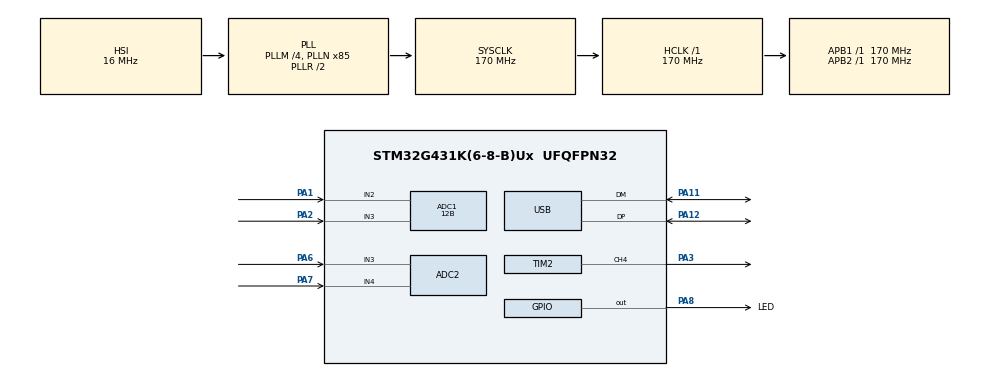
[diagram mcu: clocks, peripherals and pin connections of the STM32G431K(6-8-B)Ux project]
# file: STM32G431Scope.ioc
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ADC1.AWD1HighThreshold=4095
ADC1.AWD1ITMode=ENABLE
ADC1.Channel-4\#ChannelRegularConversion=ADC_CHANNEL_2
ADC1.Channel-6\#ChannelRegularConversion=ADC_CHANNEL_3
ADC1.DMAContinuousRequests=ENABLE
ADC1.EOCSelection=ADC_EOC_SEQ_CONV
ADC1.EnableAnalogWatchDog1=true
ADC1.ExternalTrigConv=ADC_EXTERNALTRIG_T3_TRGO
ADC1.Mode=ADC_DUALMODE_REGSIMULT
ADC1.NbrOfConversion=2
ADC1.NbrOfConversionFlag=1
ADC1.OffsetNumber-4\#ChannelRegularConversion=ADC_OFFSET_NONE
ADC1.OffsetNumber-6\#ChannelRegularConversion=ADC_OFFSET_NONE
ADC1.Overrun=ADC_OVR_DATA_OVERWRITTEN
ADC1.Rank-4\#ChannelRegularConversion=1
ADC1.Rank-6\#ChannelRegularConversion=2
ADC1.Resolution=ADC_RESOLUTION_12B
ADC1.SamplingTime-4\#ChannelRegularConversion=ADC_SAMPLETIME_2CYCLES_5
ADC1.SamplingTime-6\#ChannelRegularConversion=ADC_SAMPLETIME_2CYCLES_5
ADC1.WatchdogChannel=ADC_CHANNEL_2
ADC1.master=1
ADC2.AWD1HighThreshold=4095
ADC2.AWD1ITMode=ENABLE
ADC2.Channel-2\#ChannelRegularConversion=ADC_CHANNEL_3
ADC2.Channel-4\#ChannelRegularConversion=ADC_CHANNEL_4
ADC2.ClockPrescaler=ADC_CLOCK_SYNC_PCLK_DIV4
ADC2.DMAContinuousRequests=ENABLE
ADC2.EOCSelection=ADC_EOC_SEQ_CONV
ADC2.EnableAnalogWatchDog1=true
ADC2.Mode=ADC_DUALMODE_REGSIMULT
ADC2.NbrOfConversion=2
ADC2.NbrOfConversionFlag=1
ADC2.OffsetNumber-2\#ChannelRegularConversion=ADC_OFFSET_NONE
ADC2.OffsetNumber-4\#ChannelRegularConversion=ADC_OFFSET_NONE
ADC2.Overrun=ADC_OVR_DATA_OVERWRITTEN
ADC2.Rank-2\#ChannelRegularConversion=1
ADC2.Rank-4\#ChannelRegularConversion=2
ADC2.SamplingTime-2\#ChannelRegularConversion=ADC_SAMPLETIME_2CYCLES_5
ADC2.SamplingTime-4\#ChannelRegularConversion=ADC_SAMPLETIME_2CYCLES_5
ADC2.WatchdogChannel=ADC_CHANNEL_3
Dma.ADC1.0.Direction=DMA_PERIPH_TO_MEMORY
Dma.ADC1.0.EventEnable=DISABLE
Dma.ADC1.0.Instance=DMA1_Channel3
Dma.ADC1.0.MemDataAlignment=DMA_MDATAALIGN_HALFWORD
Dma.ADC1.0.MemInc=DMA_MINC_ENABLE
Dma.ADC1.0.Mode=DMA_CIRCULAR
Dma.ADC1.0.PeriphDataAlignment=DMA_PDATAALIGN_HALFWORD
Dma.ADC1.0.PeriphInc=DMA_PINC_DISABLE
Dma.ADC1.0.Polarity=HAL_DMAMUX_REQ_GEN_RISING
Dma.ADC1.0.Priority=DMA_PRIORITY_MEDIUM
Dma.ADC1.0.RequestNumber=1
Dma.ADC1.0.SignalID=NONE
Dma.ADC1.0.SyncEnable=DISABLE
Dma.ADC1.0.SyncPolarity=HAL_DMAMUX_SYNC_NO_EVENT
Dma.ADC1.0.SyncRequestNumber=1
Dma.ADC1.0.SyncSignalID=NONE
Dma.ADC2.1.Direction=DMA_PERIPH_TO_MEMORY
Dma.ADC2.1.EventEnable=DISABLE
Dma.ADC2.1.Instance=DMA2_Channel2
Dma.ADC2.1.MemDataAlignment=DMA_MDATAALIGN_HALFWORD
Dma.ADC2.1.MemInc=DMA_MINC_ENABLE
Dma.ADC2.1.Mode=DMA_CIRCULAR
Dma.ADC2.1.PeriphDataAlignment=DMA_PDATAALIGN_HALFWORD
Dma.ADC2.1.PeriphInc=DMA_PINC_DISABLE
Dma.ADC2.1.Polarity=HAL_DMAMUX_REQ_GEN_RISING
Dma.ADC2.1.Priority=DMA_PRIORITY_MEDIUM
Dma.ADC2.1.RequestNumber=1
Dma.ADC2.1.SignalID=NONE
Dma.ADC2.1.SyncEnable=DISABLE
Dma.ADC2.1.SyncPolarity=HAL_DMAMUX_SYNC_NO_EVENT
Dma.ADC2.1.SyncRequestNumber=1
Dma.ADC2.1.SyncSignalID=NONE
Dma.Request0=ADC1
Dma.Request1=ADC2
Mcu.Family=STM32G4
Mcu.Name=STM32G431K(6-8-B)Ux
Mcu.Package=UFQFPN32
NVIC.ADC1_2_IRQn=true\:0\:0\:true\:false\:true\:true\:true
NVIC.DMA1_Channel3_IRQn=true\:3\:0\:true\:false\:true\:false\:true
NVIC.DMA2_Channel2_IRQn=true\:3\:0\:true\:false\:true\:false\:true
NVIC.FLASH_IRQn=true\:0\:0\:false\:false\:true\:true\:true
NVIC.FPU_IRQn=true\:0\:0\:true\:false\:true\:true\:false
NVIC.PVD_PVM_IRQn=true\:0\:0\:false\:false\:true\:true\:true
NVIC.PriorityGroup=NVIC_PRIORITYGROUP_4
NVIC.RCC_IRQn=true\:0\:0\:false\:false\:true\:true\:false
NVIC.TIM1_BRK_TIM15_IRQn=true\:1\:0\:true\:false\:true\:true\:true
NVIC.TIM1_CC_IRQn=true\:0\:0\:true\:false\:true\:true\:true
NVIC.TIM1_TRG_COM_TIM17_IRQn=true\:1\:0\:true\:false\:true\:true\:true
NVIC.TIM1_UP_TIM16_IRQn=true\:0\:0\:true\:false\:true\:true\:true
NVIC.TIM6_DAC_IRQn=true\:6\:0\:true\:false\:true\:true\:true
NVIC.USB_HP_IRQn=true\:0\:0\:true\:false\:true\:true\:true
NVIC.USB_LP_IRQn=true\:0\:0\:true\:false\:true\:false\:true
PA0.Signal=S_TIM2_CH1
PA1.Mode=IN2-Single-Ended
PA1.Signal=ADC1_IN2
PA11.Mode=Device
PA11.Signal=USB_DM
PA12.Mode=Device
PA12.Signal=USB_DP
PA13.Mode=Serial_Wire
PA13.Signal=SYS_JTMS-SWDIO
PA14.Mode=Serial_Wire
PA14.Signal=SYS_JTCK-SWCLK
PA2.Mode=IN3-Single-Ended
PA2.Signal=ADC1_IN3
PA3.Signal=S_TIM2_CH4
PA6.Mode=IN3-Single-Ended
PA6.Signal=ADC2_IN3
PA7.Mode=IN4-Single-Ended
PA7.Signal=ADC2_IN4
PA8.GPIO_Label=LED
PA8.Signal=GPIO_Output
PF0-OSC_IN.Mode=HSE-External-Oscillator
PF0-OSC_IN.Signal=RCC_OSC_IN
PF1-OSC_OUT.Mode=HSE-External-Oscillator
PF1-OSC_OUT.Signal=RCC_OSC_OUT
ProjectManager.HeapSize=0x200
ProjectManager.StackSize=0x400
ProjectManager.TargetToolchain=STM32CubeIDE
RCC.ADC12CLockSelection=RCC_ADC12CLKSOURCE_PLL
RCC.ADC12Freq_Value=170000000
RCC.AHBFreq_Value=170000000
RCC.APB1Freq_Value=170000000
RCC.APB1TimFreq_Value=170000000
RCC.APB2Freq_Value=170000000
RCC.APB2TimFreq_Value=170000000
RCC.CK48CLockSelection=RCC_USBCLKSOURCE_HSI48
RCC.CortexFreq_Value=170000000
RCC.EXTERNAL_CLOCK_VALUE=12288000
RCC.HCLKFreq_Value=170000000
RCC.HSE_VALUE=8000000
RCC.HSI48_VALUE=48000000
RCC.HSI_VALUE=16000000
RCC.LSE_VALUE=32768
RCC.PLLM=RCC_PLLM_DIV4
RCC.PLLN=85
RCC.SYSCLKFreq_VALUE=170000000
RCC.SYSCLKSource=RCC_SYSCLKSOURCE_PLLCLK
RCC.USBFreq_Value=48000000
RCC.VCOOutputFreq_Value=340000000
SH.S_TIM2_CH1.0=TIM2_CH1
SH.S_TIM2_CH4.0=TIM2_CH4,PWM Generation4 CH4
TIM1.CounterMode=TIM_COUNTERMODE_DOWN
TIM2.Channel-PWM\ Generation4\ CH4=TIM_CHANNEL_4
TIM3.PeriodNoDither=170-1
TIM3.TIM_MasterOutputTrigger=TIM_TRGO_UPDATE
TIM6.PeriodNoDither=1000-1
TIM6.Prescaler=17000-1
USB_DEVICE.CLASS_NAME_FS=CDC
USB_DEVICE.VirtualMode=Cdc
USB_DEVICE.VirtualModeFS=Cdc_FS
VP_SYS_VS_DBSignals.Mode=DisableDeadBatterySignals
VP_TIM1_VS_ClockSourceITR.Mode=TriggerSource_ITR2
VP_TIM1_VS_ControllerModeClock.Mode=Clock Mode
VP_TIM3_VS_ClockSourceINT.Mode=Internal
VP_TIM6_VS_ClockSourceINT.Mode=Enable_Timer
VP_USB_DEVICE_VS_USB_DEVICE_CDC_FS.Mode=CDC_FS
board=custom

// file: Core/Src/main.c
/* USER CODE BEGIN Header */
/**
 ******************************************************************************
 * @file           : main.c
 * @brief          : Main program body
 ******************************************************************************
 * @attention
 *
 * <h2><center>&copy; Copyright (c) 2021 STMicroelectronics.
 * All rights reserved.</center></h2>
 *
 * This software component is licensed by ST under BSD 3-Clause license,
 * the "License"; You may not use this file except in compliance with the
 * License. You may obtain a copy of the License at:
 *                        opensource.org/licenses/BSD-3-Clause
 *
 ******************************************************************************
 */
/* USER CODE END Header */
#include "main.h"
#include "adc.h"
#include "dma.h"
#include "tim.h"
#include "usb_device.h"
#include "gpio.h"

/* USER CODE BEGIN Includes */
#include <stdio.h>
#include <stdlib.h>
#include <string.h>

#include "config.h"
#include "terminal.h"
#include "communication.h"
#include "osc.h"
#include "pwm.h"
/* USER CODE END Includes */

/* USER CODE BEGIN PV */
extern USBD_HandleTypeDef hUsbDeviceFS;

volatile uint8_t checkConnectionFlag = 0;
volatile uint8_t usingHSI_flag = 0;

uint8_t rollingModeDataReady = 0;

/* USER CODE END PV */

void SystemClock_Config(void);
/* USER CODE BEGIN PFP */
uint8_t SystemClock_Config_HSE(void);
/* USER CODE END PFP */

int main(void) {
	/* USER CODE BEGIN 1 */
	uint32_t ledBlink = 0;
	/* USER CODE END 1 */

	/* MCU Configuration--------------------------------------------------------*/

	/* Reset of all peripherals, Initializes the Flash interface and the Systick. */
	HAL_Init();

	/* USER CODE BEGIN Init */
	RCC->AHB1ENR |= 1111;

#if 0
  /* USER CODE END Init */

  /* Configure the system clock */
  SystemClock_Config();

  /* USER CODE BEGIN SysInit */
#endif
	HAL_RCC_DeInit();
	if (!SystemClock_Config_HSE()) {
		usingHSI_flag = 1;
		HAL_RCC_DeInit();
		SystemClock_Config();
	}
	/* USER CODE END SysInit */

	/* Initialize all configured peripherals */
	MX_GPIO_Init();
	MX_ADC1_Init();
	MX_DMA_Init();
	MX_ADC2_Init();
	MX_TIM1_Init();
	MX_TIM3_Init();
	MX_TIM6_Init();
	MX_USB_Device_Init();
	MX_TIM2_Init();
	/* USER CODE BEGIN 2 */
	terminal_init();
	com_init();
	osc_init();
	pwm_init();
	/* USER CODE END 2 */

	/* Infinite loop */
	/* USER CODE BEGIN WHILE */
	while (1) {
		uint8_t comstatus = com_status();

		if (checkConnectionFlag && oscStatus != running) {
			checkConnectionFlag = 0;
			com_test();
			if (comstatus == 0 && ((++ledBlink) % LED_BLINK_NOT_CONNECTED) == 0)
				HAL_GPIO_TogglePin(LED_GPIO_Port, LED_Pin);
		}

		if (comstatus == 0)
			continue;

		if (comstatus == 2) {
			com_print("$$IConnected");
			if (usingHSI_flag)
				com_print("$$WCrystal oscillator not used");
			terminal_setpage(page_osc);
			HAL_GPIO_WritePin(LED_GPIO_Port, LED_Pin, GPIO_PIN_SET);
		}

		terminal_update();

		if (oscStatus == idle)
			osc_beginMeasuring();

		if (oscStatus == finished) {
			if (com_lastACKreceived) {
				HAL_ADCEx_MultiModeStop_DMA(&hadc1);
				HAL_DMA_Abort(hadc2.DMA_Handle);
				if (osc_singleTrigger) {
					oscStatus = paused;
					osc_singleTrigger = 0;
					oscTrigType = trig_auto;
					terminal_updateValues();
				} else
					oscStatus = idle;
				osc_sendData();
				com_requestack();
			}
		}

		if (rollingModeDataReady) {
			rollingModeDataReady = 0;
			uint16_t len;
			if (terminalSettings.NumChPerADC == 1)
				len = sprintf(txBuffer, "$$P-auto,%f,%f;", adcBuffer1[0] * 3.3 / 4096.0, adcBuffer2[0] * 3.3 / 4096.0);
			if (terminalSettings.NumChPerADC == 2)
				len = sprintf(txBuffer, "$$P-auto,%f,%f,%f,%f;", adcBuffer1[0] * 3.3 / 4096.0, adcBuffer2[0] * 3.3 / 4096.0, adcBuffer1[1] * 3.3 / 4096.0, adcBuffer2[1] * 3.3 / 4096.0);
			com_transmit(txBuffer, len);
		}
	}
	/* USER CODE END WHILE */

}

void SystemClock_Config(void) {
	RCC_OscInitTypeDef RCC_OscInitStruct = { 0 };
	RCC_ClkInitTypeDef RCC_ClkInitStruct = { 0 };

	/** Configure the main internal regulator output voltage
	 */
	HAL_PWREx_ControlVoltageScaling(PWR_REGULATOR_VOLTAGE_SCALE1_BOOST);
	/** Initializes the RCC Oscillators according to the specified parameters
	 * in the RCC_OscInitTypeDef structure.
	 */
	RCC_OscInitStruct.OscillatorType = RCC_OSCILLATORTYPE_HSI | RCC_OSCILLATORTYPE_HSI48;
	RCC_OscInitStruct.HSIState = RCC_HSI_ON;
	RCC_OscInitStruct.HSICalibrationValue = RCC_HSICALIBRATION_DEFAULT;
	RCC_OscInitStruct.HSI48State = RCC_HSI48_ON;
	RCC_OscInitStruct.PLL.PLLState = RCC_PLL_ON;
	RCC_OscInitStruct.PLL.PLLSource = RCC_PLLSOURCE_HSI;
	RCC_OscInitStruct.PLL.PLLM = RCC_PLLM_DIV4;
	RCC_OscInitStruct.PLL.PLLN = 85;
	RCC_OscInitStruct.PLL.PLLP = RCC_PLLP_DIV2;
	RCC_OscInitStruct.PLL.PLLQ = RCC_PLLQ_DIV2;
	RCC_OscInitStruct.PLL.PLLR = RCC_PLLR_DIV2;
	if (HAL_RCC_OscConfig(&RCC_OscInitStruct) != HAL_OK) {
		Error_Handler();
	}
	/** Initializes the CPU, AHB and APB buses clocks
	 */
	RCC_ClkInitStruct.ClockType = RCC_CLOCKTYPE_HCLK | RCC_CLOCKTYPE_SYSCLK | RCC_CLOCKTYPE_PCLK1 | RCC_CLOCKTYPE_PCLK2;
	RCC_ClkInitStruct.SYSCLKSource = RCC_SYSCLKSOURCE_PLLCLK;
	RCC_ClkInitStruct.AHBCLKDivider = RCC_SYSCLK_DIV1;
	RCC_ClkInitStruct.APB1CLKDivider = RCC_HCLK_DIV1;
	RCC_ClkInitStruct.APB2CLKDivider = RCC_HCLK_DIV1;

	if (HAL_RCC_ClockConfig(&RCC_ClkInitStruct, FLASH_LATENCY_4) != HAL_OK) {
		Error_Handler();
	}
}

/* USER CODE BEGIN 4 */
uint8_t SystemClock_Config_HSE(void) {
	RCC_OscInitTypeDef RCC_OscInitStruct = { 0 };
	RCC_ClkInitTypeDef RCC_ClkInitStruct = { 0 };

	/** Configure the main internal regulator output voltage
	 */
	HAL_PWREx_ControlVoltageScaling(PWR_REGULATOR_VOLTAGE_SCALE1_BOOST);
	/** Initializes the RCC Oscillators according to the specified parameters
	 * in the RCC_OscInitTypeDef structure.
	 */
	RCC_OscInitStruct.OscillatorType = RCC_OSCILLATORTYPE_HSI48 | RCC_OSCILLATORTYPE_HSE;
	RCC_OscInitStruct.HSEState = RCC_HSE_ON;
	RCC_OscInitStruct.HSI48State = RCC_HSI48_ON;
	RCC_OscInitStruct.PLL.PLLState = RCC_PLL_ON;
	RCC_OscInitStruct.PLL.PLLSource = RCC_PLLSOURCE_HSE;
	RCC_OscInitStruct.PLL.PLLM = RCC_PLLM_DIV2;
	RCC_OscInitStruct.PLL.PLLN = 85;
	RCC_OscInitStruct.PLL.PLLP = RCC_PLLP_DIV2;
	RCC_OscInitStruct.PLL.PLLQ = RCC_PLLQ_DIV2;
	RCC_OscInitStruct.PLL.PLLR = RCC_PLLR_DIV2;
	if (HAL_RCC_OscConfig(&RCC_OscInitStruct) != HAL_OK) {
		return 0;
	}
	/** Initializes the CPU, AHB and APB buses clocks
	 */
	RCC_ClkInitStruct.ClockType = RCC_CLOCKTYPE_HCLK | RCC_CLOCKTYPE_SYSCLK | RCC_CLOCKTYPE_PCLK1 | RCC_CLOCKTYPE_PCLK2;
	RCC_ClkInitStruct.SYSCLKSource = RCC_SYSCLKSOURCE_PLLCLK;
	RCC_ClkInitStruct.AHBCLKDivider = RCC_SYSCLK_DIV1;
	RCC_ClkInitStruct.APB1CLKDivider = RCC_HCLK_DIV1;
	RCC_ClkInitStruct.APB2CLKDivider = RCC_HCLK_DIV1;

	if (HAL_RCC_ClockConfig(&RCC_ClkInitStruct, FLASH_LATENCY_4) != HAL_OK) {
		Error_Handler();
	}
	return 1;
}

void HAL_TIM_PeriodElapsedCallback(TIM_HandleTypeDef *htim) {
	if (htim == &htim1) {
		if ((oscTrigState == triggerNotWaiting || oscTrigType != trig_norm) && currentBufferLength != 1) {
			HAL_TIM_Base_Stop(&htim3);
			oscStatus = finished;
		}
	} else if (htim == &htim6) {
		checkConnectionFlag = 1;
	}
}

void HAL_ADC_ErrorCallback(ADC_HandleTypeDef *hadc) {
	//Error_Handler();
}
void HAL_ADC_ConvCpltCallback(ADC_HandleTypeDef *hadc) {
	if (hadc == &hadc1) {
		if (pretriggerRequiresFullBuffer) {
			if (oscTrigState == triggerWaitingPretrigger) {
				triggerADC->Instance->TR1 = awdgTR1Part1;
				oscTrigState = triggerWaitFirstPart;
			}
		}

	}
}

void HAL_ADC_ConvHalfCpltCallback(ADC_HandleTypeDef *hadc) {
	if (hadc == &hadc1) {
		if (!pretriggerRequiresFullBuffer) {
			if (oscTrigState == triggerWaitingPretrigger) {
				triggerADC->Instance->TR1 = awdgTR1Part1;
				oscTrigState = triggerWaitFirstPart;
			}
		}
		if (currentBufferLength == 1) {
			rollingModeDataReady = 1;
		}
	}
}

void HAL_ADC_LevelOutOfWindowCallback(ADC_HandleTypeDef *hadc) {
	if (oscTrigState == triggerWaitFirstPart) {
		triggerADC->Instance->TR1 = awdgTR1Part2;
		oscTrigState = triggerWaitSecondPart;
	} else if (oscTrigState == triggerWaitSecondPart) {
		htim1.Instance->CNT = postTriggerSamples - triggerCorrection;
		oscTrigState = triggerNotWaiting;
		triggerADC->Instance->TR1 = 4095 << 16;
	}
}

/* USER CODE END 4 */

void Error_Handler(void) {
	/* USER CODE BEGIN Error_Handler_Debug */
	/* User can add his own implementation to report the HAL error return state */
	__disable_irq();
	while (1) {
		HAL_GPIO_WritePin(LED_GPIO_Port, LED_Pin, GPIO_PIN_RESET);
	}
	/* USER CODE END Error_Handler_Debug */
}
